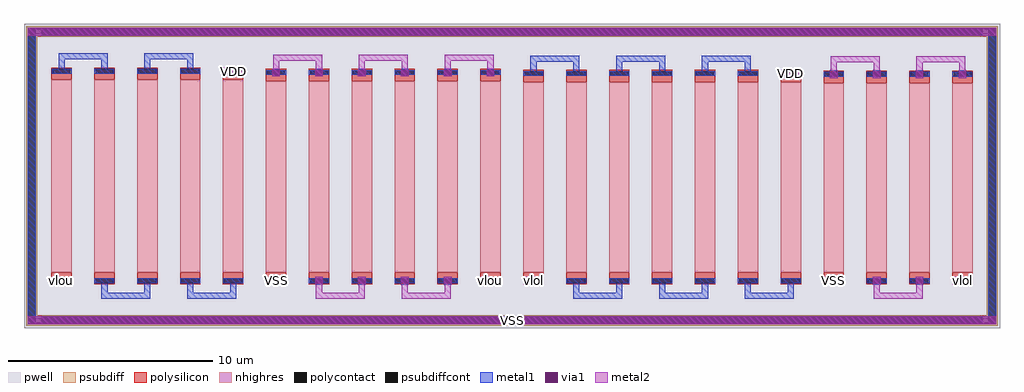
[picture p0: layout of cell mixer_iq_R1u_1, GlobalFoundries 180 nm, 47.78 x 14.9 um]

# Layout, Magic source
magic
tech gf180mcuD
magscale 1 10
<< pwell >>
rect -368 -464 9188 2516
<< psubdiff >>
rect -344 -440 9164 -336
rect -344 2388 9164 2492
rect -344 -336 -240 2388
rect 9060 -336 9164 2388
<< polysilicon >>
rect -100 1966 100 2088
rect -100 -36 100 86
rect 320 1966 520 2088
rect 320 -36 520 86
rect 740 1966 940 2088
rect 740 -36 940 86
rect 1160 1966 1360 2088
rect 1160 -36 1360 86
rect 1580 1966 1780 2088
rect 1580 -36 1780 86
rect 2000 1953 2200 2075
rect 2000 -36 2200 86
rect 2420 1953 2620 2075
rect 2420 -36 2620 86
rect 2840 1953 3040 2075
rect 2840 -36 3040 86
rect 3260 1953 3460 2075
rect 3260 -36 3460 86
rect 3680 1953 3880 2075
rect 3680 -36 3880 86
rect 4100 1953 4300 2075
rect 4100 -36 4300 86
rect 4520 1943 4720 2065
rect 4520 -36 4720 86
rect 4940 1943 5140 2065
rect 4940 -36 5140 86
rect 5360 1943 5560 2065
rect 5360 -36 5560 86
rect 5780 1943 5980 2065
rect 5780 -36 5980 86
rect 6200 1943 6400 2065
rect 6200 -36 6400 86
rect 6620 1943 6820 2065
rect 6620 -36 6820 86
rect 7040 1943 7240 2065
rect 7040 -36 7240 86
rect 7460 1936 7660 2058
rect 7460 -36 7660 86
rect 7880 1936 8080 2058
rect 7880 -36 8080 86
rect 8300 1936 8500 2058
rect 8300 -36 8500 86
rect 8720 1936 8920 2058
rect 8720 -36 8920 86
<< nhighres >>
rect -100 86 100 1966
rect 320 86 520 1966
rect 740 86 940 1966
rect 1160 86 1360 1966
rect 1580 86 1780 1966
rect 2000 86 2200 1953
rect 2420 86 2620 1953
rect 2840 86 3040 1953
rect 3260 86 3460 1953
rect 3680 86 3880 1953
rect 4100 86 4300 1953
rect 4520 86 4720 1943
rect 4940 86 5140 1943
rect 5360 86 5560 1943
rect 5780 86 5980 1943
rect 6200 86 6400 1943
rect 6620 86 6820 1943
rect 7040 86 7240 1943
rect 7460 86 7660 1936
rect 7880 86 8080 1936
rect 8300 86 8500 1936
rect 8720 86 8920 1936
<< psubdiffcont >>
rect -331 -416 -253 2468
rect 9073 -416 9151 2468
rect -193 2401 9013 2479
rect -193 -427 9013 -349
<< polycontact >>
rect -87 2029 87 2075
rect -87 -23 87 23
rect 333 2029 507 2075
rect 333 -23 507 23
rect 753 2029 927 2075
rect 753 -23 927 23
rect 1173 2029 1347 2075
rect 1173 -23 1347 23
rect 1593 2029 1767 2075
rect 1593 -23 1767 23
rect 2013 2016 2187 2062
rect 2013 -23 2187 23
rect 2433 2016 2607 2062
rect 2433 -23 2607 23
rect 2853 2016 3027 2062
rect 2853 -23 3027 23
rect 3273 2016 3447 2062
rect 3273 -23 3447 23
rect 3693 2016 3867 2062
rect 3693 -23 3867 23
rect 4113 2016 4287 2062
rect 4113 -23 4287 23
rect 4533 2006 4707 2052
rect 4533 -23 4707 23
rect 4953 2006 5127 2052
rect 4953 -23 5127 23
rect 5373 2006 5547 2052
rect 5373 -23 5547 23
rect 5793 2006 5967 2052
rect 5793 -23 5967 23
rect 6213 2006 6387 2052
rect 6213 -23 6387 23
rect 6633 2006 6807 2052
rect 6633 -23 6807 23
rect 7053 2006 7227 2052
rect 7053 -23 7227 23
rect 7473 1999 7647 2045
rect 7473 -23 7647 23
rect 7893 1999 8067 2045
rect 7893 -23 8067 23
rect 8313 1999 8487 2045
rect 8313 -23 8487 23
rect 8733 1999 8907 2045
rect 8733 -23 8907 23
<< metal1 >>
rect -98 2029 98 2075
rect -98 -23 98 23
rect 322 2029 518 2075
rect 322 -23 518 23
rect 742 2029 938 2075
rect 742 -23 938 23
rect 1162 2029 1358 2075
rect 1162 -23 1358 23
rect 1582 2029 1778 2075
rect 1582 -23 1778 23
rect 2002 2016 2198 2062
rect 2002 -23 2198 23
rect 2422 2016 2618 2062
rect 2422 -23 2618 23
rect 2842 2016 3038 2062
rect 2842 -23 3038 23
rect 3262 2016 3458 2062
rect 3262 -23 3458 23
rect 3682 2016 3878 2062
rect 3682 -23 3878 23
rect 4102 2016 4298 2062
rect 4102 -23 4298 23
rect 4522 2006 4718 2052
rect 4522 -23 4718 23
rect 4942 2006 5138 2052
rect 4942 -23 5138 23
rect 5362 2006 5558 2052
rect 5362 -23 5558 23
rect 5782 2006 5978 2052
rect 5782 -23 5978 23
rect 6202 2006 6398 2052
rect 6202 -23 6398 23
rect 6622 2006 6818 2052
rect 6622 -23 6818 23
rect 7042 2006 7238 2052
rect 7042 -23 7238 23
rect 7462 1999 7658 2045
rect 7462 -23 7658 23
rect 7882 1999 8078 2045
rect 7882 -23 8078 23
rect 8302 1999 8498 2045
rect 8302 -23 8498 23
rect 8722 1999 8918 2045
rect 8722 -23 8918 23
rect -98 -38 98 38
rect -30 2029 30 2228
rect 390 2029 450 2228
rect -30 2168 450 2228
rect 390 -176 450 23
rect 810 -176 870 23
rect 390 -176 870 -116
rect 810 2029 870 2228
rect 1230 2029 1290 2228
rect 810 2168 1290 2228
rect 1230 -176 1290 23
rect 1650 -176 1710 23
rect 1230 -176 1710 -116
rect 1582 2014 1778 2090
rect 2002 -38 2198 38
rect 2062 2001 2138 2077
rect 2482 2001 2558 2077
rect 2482 -38 2558 38
rect 2902 -38 2978 38
rect 2902 2001 2978 2077
rect 3322 2001 3398 2077
rect 3322 -38 3398 38
rect 3742 -38 3818 38
rect 3742 2001 3818 2077
rect 4162 2001 4238 2077
rect 4102 -38 4298 38
rect 4522 -38 4718 38
rect 4590 2006 4650 2205
rect 5010 2006 5070 2205
rect 4590 2145 5070 2205
rect 5010 -176 5070 23
rect 5430 -176 5490 23
rect 5010 -176 5490 -116
rect 5430 2006 5490 2205
rect 5850 2006 5910 2205
rect 5430 2145 5910 2205
rect 5850 -176 5910 23
rect 6270 -176 6330 23
rect 5850 -176 6330 -116
rect 6270 2006 6330 2205
rect 6690 2006 6750 2205
rect 6270 2145 6750 2205
rect 6690 -176 6750 23
rect 7110 -176 7170 23
rect 6690 -176 7170 -116
rect 7042 1991 7238 2067
rect 7462 -38 7658 38
rect 7522 1984 7598 2060
rect 7942 1984 8018 2060
rect 7942 -38 8018 38
rect 8362 -38 8438 38
rect 8362 1984 8438 2060
rect 8782 1984 8858 2060
rect 8722 -38 8918 38
rect -331 -427 9151 -349
rect -331 2401 9151 2479
rect -331 -427 -253 2479
rect 9073 -427 9151 2479
rect -331 -427 9151 -349
rect -331 2401 9151 2479
<< metal2 >>
rect -98 -38 98 38
rect 1582 2014 1778 2090
rect 2002 -38 2198 38
rect 2062 2001 2138 2077
rect 2070 2039 2130 2215
rect 2482 2001 2558 2077
rect 2490 2039 2550 2215
rect 2070 2155 2550 2215
rect 2482 -38 2558 38
rect 2490 -176 2550 0
rect 2902 -38 2978 38
rect 2910 -176 2970 0
rect 2490 -176 2970 -116
rect 2902 2001 2978 2077
rect 2910 2039 2970 2215
rect 3322 2001 3398 2077
rect 3330 2039 3390 2215
rect 2910 2155 3390 2215
rect 3322 -38 3398 38
rect 3330 -176 3390 0
rect 3742 -38 3818 38
rect 3750 -176 3810 0
rect 3330 -176 3810 -116
rect 3742 2001 3818 2077
rect 3750 2039 3810 2215
rect 4162 2001 4238 2077
rect 4170 2039 4230 2215
rect 3750 2155 4230 2215
rect 4102 -38 4298 38
rect 4522 -38 4718 38
rect 7042 1991 7238 2067
rect 7462 -38 7658 38
rect 7522 1984 7598 2060
rect 7530 2022 7590 2198
rect 7942 1984 8018 2060
rect 7950 2022 8010 2198
rect 7530 2138 8010 2198
rect 7942 -38 8018 38
rect 7950 -176 8010 0
rect 8362 -38 8438 38
rect 8370 -176 8430 0
rect 7950 -176 8430 -116
rect 8362 1984 8438 2060
rect 8370 2022 8430 2198
rect 8782 1984 8858 2060
rect 8790 2022 8850 2198
rect 8370 2138 8850 2198
rect 8722 -38 8918 38
rect -331 -427 9151 -349
rect -331 2401 9151 2479
<< via1 >>
rect -86 -26 86 26
rect 1594 2026 1766 2078
rect 2014 -26 2186 26
rect 2074 2013 2126 2065
rect 2494 2013 2546 2065
rect 2494 -26 2546 26
rect 2914 -26 2966 26
rect 2914 2013 2966 2065
rect 3334 2013 3386 2065
rect 3334 -26 3386 26
rect 3754 -26 3806 26
rect 3754 2013 3806 2065
rect 4174 2013 4226 2065
rect 4114 -26 4286 26
rect 4534 -26 4706 26
rect 7054 2003 7226 2055
rect 7474 -26 7646 26
rect 7534 1996 7586 2048
rect 7954 1996 8006 2048
rect 7954 -26 8006 26
rect 8374 -26 8426 26
rect 8374 1996 8426 2048
rect 8794 1996 8846 2048
rect 8734 -26 8906 26
rect -319 -415 9139 -361
rect -319 2413 9139 2467
<< labels >>
flabel metal2 s -98 -38 98 38 0 FreeSans 80 0 0 0 vlou
port 1 nsew signal bidirectional
flabel metal2 s 1582 2014 1778 2090 0 FreeSans 80 0 0 0 VDD
port 2 nsew signal bidirectional
flabel metal2 s 2002 -38 2198 38 0 FreeSans 80 0 0 0 VSS
port 3 nsew signal bidirectional
flabel metal2 s 4102 -38 4298 38 0 FreeSans 80 0 0 0 vlou
port 1 nsew signal bidirectional
flabel metal2 s 4522 -38 4718 38 0 FreeSans 80 0 0 0 vlol
port 4 nsew signal bidirectional
flabel metal2 s 7042 1991 7238 2067 0 FreeSans 80 0 0 0 VDD
port 2 nsew signal bidirectional
flabel metal2 s 7462 -38 7658 38 0 FreeSans 80 0 0 0 VSS
port 3 nsew signal bidirectional
flabel metal2 s 8722 -38 8918 38 0 FreeSans 80 0 0 0 vlol
port 4 nsew signal bidirectional
flabel metal2 s -331 -427 9151 -349 0 FreeSans 80 0 0 0 VSS
port 3 nsew signal bidirectional
<< end >>
